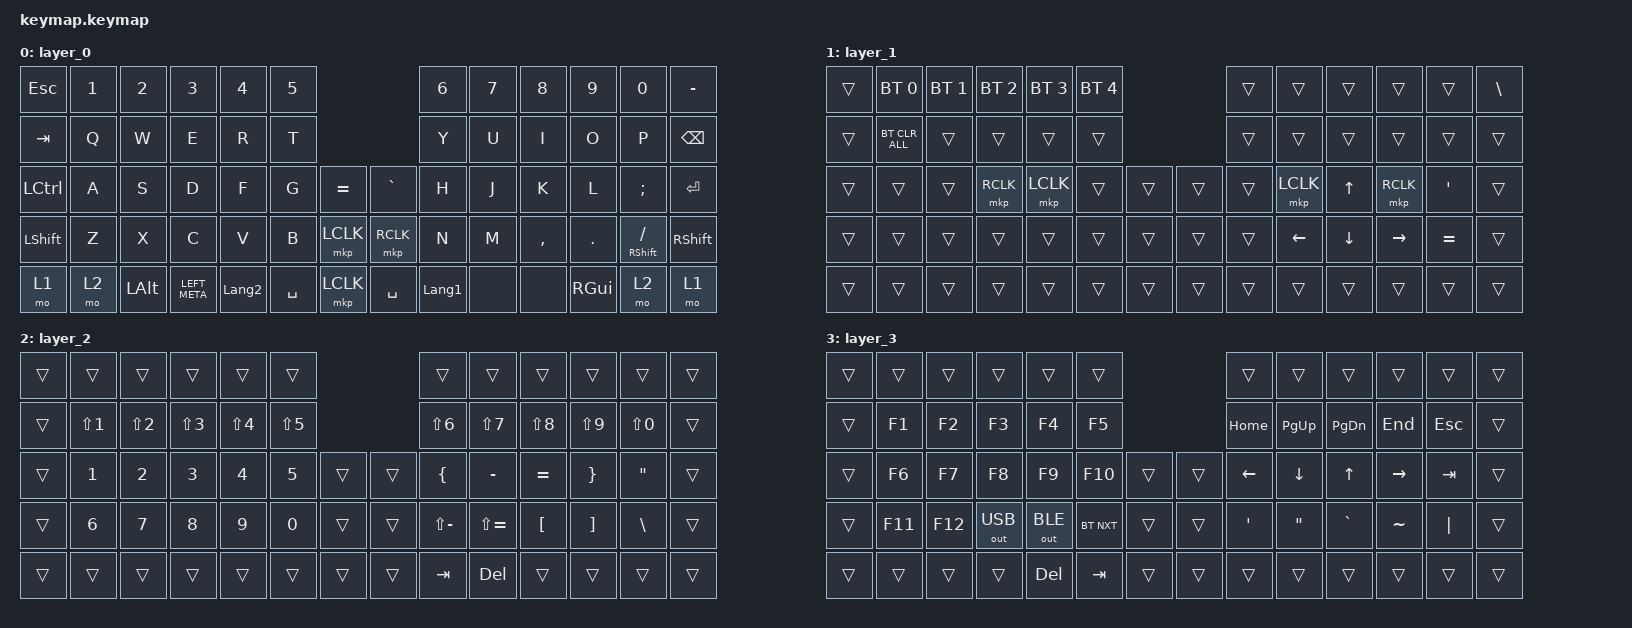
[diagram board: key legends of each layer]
#include <input/processors.dtsi>
#include <behaviors.dtsi>
#include <dt-bindings/zmk/bt.h>
#include <dt-bindings/zmk/keys.h>
#include <dt-bindings/zmk/outputs.h>
#include <dt-bindings/zmk/pointing.h>

/ {
    trackball_listener {
        scroller {
            layers = <1>;
            input-processors = <&zip_xy_to_scroll_mapper>;
        };
    };

    combos {
        compatible = "zmk,combos";

        bt_clear {
            bindings = <&bt BT_CLR>;
            key-positions = <28 29>;
            layers = <2>;
        };
    };

    keymap {
        compatible = "zmk,keymap";

        layer_0 {
            bindings = <
&kp ESC           &kp N1  &kp N2        &kp N3         &kp N4          &kp N5                           &kp N6          &kp N7  &kp N8     &kp N9    &kp N0                &kp MINUS
&kp TAB           &kp Q   &kp W         &kp E          &kp R           &kp T                            &kp Y           &kp U   &kp I      &kp O     &kp P                 &kp BSPC
&kp LEFT_CONTROL  &kp A   &kp S         &kp D          &kp F           &kp G      &kp EQUAL  &kp GRAVE  &kp H           &kp J   &kp K      &kp L     &kp SEMI              &kp ENTER
&kp LSHFT         &kp Z   &kp X         &kp C          &kp V           &kp B      &mkp LCLK  &mkp RCLK  &kp N           &kp M   &kp COMMA  &kp DOT   &mt RIGHT_SHIFT FSLH  &kp RSHFT
&mo 1             &mo 2   &kp LEFT_ALT  &kp LEFT_META  &kp LANGUAGE_2  &kp SPACE  &mkp LCLK  &kp SPACE  &kp LANGUAGE_1  &none   &none      &kp RGUI  &mo 2                 &mo 1
            >;
        };

        layer_1 {
            bindings = <
&trans  &bt BT_SEL 0    &bt BT_SEL 1  &bt BT_SEL 2  &bt BT_SEL 3  &bt BT_SEL 4                  &trans  &trans     &trans    &trans     &trans     &kp BACKSLASH
&trans  &bt BT_CLR_ALL  &trans        &trans        &trans        &trans                        &trans  &trans     &trans    &trans     &trans     &trans
&trans  &trans          &trans        &mkp RCLK     &mkp LCLK     &trans        &trans  &trans  &trans  &mkp LCLK  &kp UP    &mkp RCLK  &kp SQT    &trans
&trans  &trans          &trans        &trans        &trans        &trans        &trans  &trans  &trans  &kp LEFT   &kp DOWN  &kp RIGHT  &kp EQUAL  &trans
&trans  &trans          &trans        &trans        &trans        &trans        &trans  &trans  &trans  &trans     &trans    &trans     &trans     &trans
            >;
        };

        layer_2 {
            bindings = <
&trans  &trans            &trans            &trans      &trans      &trans                      &trans          &trans         &trans            &trans             &trans             &trans
&trans  &kp LS(NUMBER_1)  &kp LS(NUMBER_2)  &kp LS(N3)  &kp LS(N4)  &kp LS(N5)                  &kp LS(N6)      &kp LS(N7)     &kp LS(N8)        &kp LS(N9)         &kp LS(N0)         &trans
&trans  &kp N1            &kp N2            &kp N3      &kp N4      &kp N5      &trans  &trans  &kp LEFT_BRACE  &kp MINUS      &kp EQUAL         &kp RIGHT_BRACE    &kp DOUBLE_QUOTES  &trans
&trans  &kp N6            &kp N7            &kp N8      &kp N9      &kp N0      &trans  &trans  &kp LS(MINUS)   &kp LS(EQUAL)  &kp LEFT_BRACKET  &kp RIGHT_BRACKET  &kp BACKSLASH      &trans
&trans  &trans            &trans            &trans      &trans      &trans      &trans  &trans  &kp TAB         &kp DEL        &trans            &trans             &trans             &trans
            >;
        };

        layer_3 {
            bindings = <
&trans  &trans   &trans   &trans        &trans        &trans                      &trans            &trans     &trans         &trans     &trans      &trans
&trans  &kp F1   &kp F2   &kp F3        &kp F4        &kp F5                      &kp HOME          &kp PG_UP  &kp PAGE_DOWN  &kp END    &kp ESCAPE  &trans
&trans  &kp F6   &kp F7   &kp F8        &kp F9        &kp F10     &trans  &trans  &kp LEFT          &kp DOWN   &kp UP_ARROW   &kp RIGHT  &kp TAB     &trans
&trans  &kp F11  &kp F12  &out OUT_USB  &out OUT_BLE  &bt BT_NXT  &trans  &trans  &kp SINGLE_QUOTE  &kp DQT    &kp GRAVE      &kp TILDE  &kp PIPE    &trans
&trans  &trans   &trans   &trans        &kp DELETE    &kp TAB     &trans  &trans  &trans            &trans     &trans         &trans     &trans      &trans
            >;
        };
    };
};
